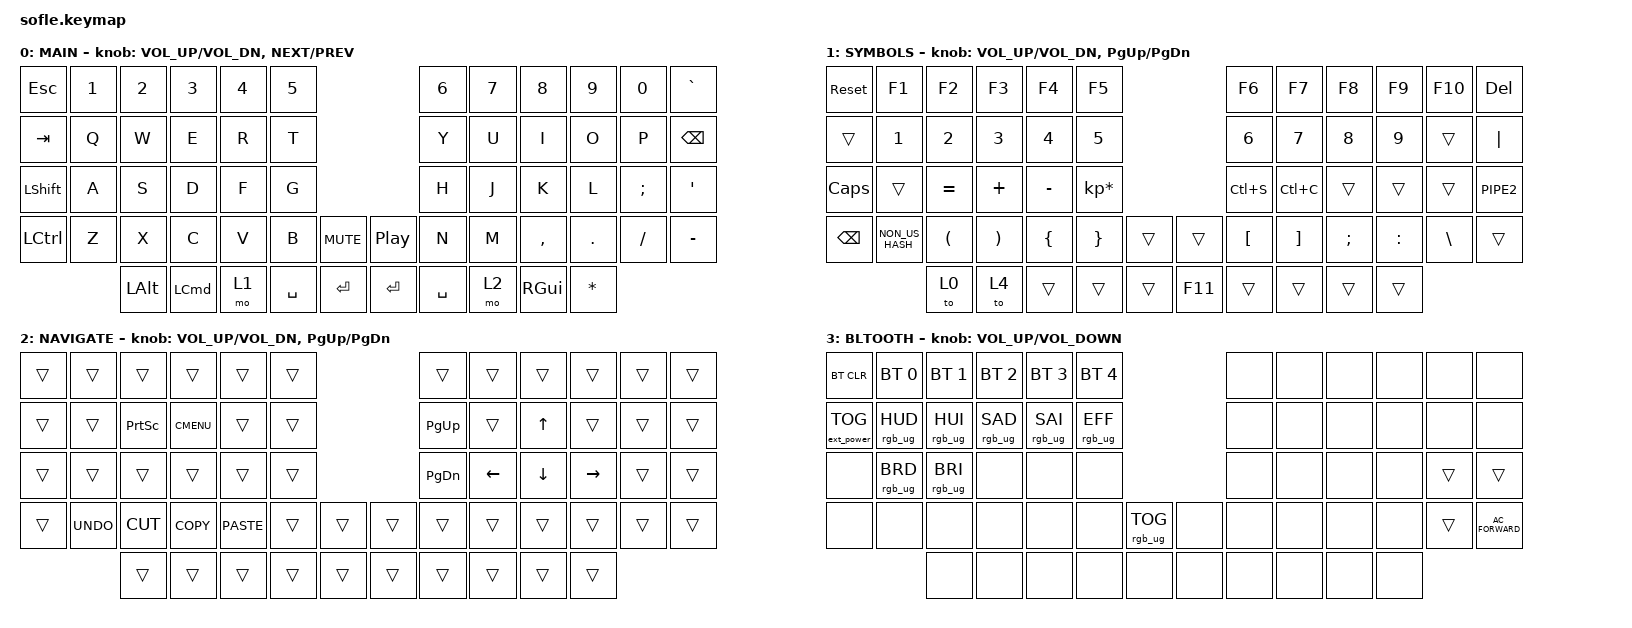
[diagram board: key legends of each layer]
/*
 * Copyright (c) 2020 The ZMK Contributors
 *
 * SPDX-License-Identifier: MIT
 */

#include <behaviors.dtsi>
#include <dt-bindings/zmk/bt.h>
#include <dt-bindings/zmk/ext_power.h>
#include <dt-bindings/zmk/keys.h>
#include <dt-bindings/zmk/rgb.h>

#define BASE 0
#define LOWER 1
#define RAISE 2
#define ADJUST 3

/ {
    // Activate ADJUST layer by pressing raise and lower

    conditional_layers {
        compatible = "zmk,conditional-layers";

        adjust_layer {
            if-layers = <1 2>;
            then-layer = <3>;
        };
    };
    combos {
            compatible = "zmk,combos";
    
            soft-off {
                bindings = <&soft_off>;
                key-positions = <5 6>;
                timeout-ms = <500>;
            };
        };
    keymap {
        compatible = "zmk,keymap";

        MAIN {
            display-name = "MAIN";

            // ------------------------------------------------------------------------------------------------------------
            // |   `   |  1  |  2  |  3   |  4   |  5   |                   |  6   |  7    |  8    |  9   |   0   |       |
            // |  ESC  |  Q  |  W  |  E   |  R   |  T   |                   |  Y   |  U    |  I    |  O   |   P   | BKSPC |
            // |  TAB  |  A  |  S  |  D   |  F   |  G   |                   |  H   |  J    |  K    |  L   |   ;   |   '   |
            // | SHIFT |  Z  |  X  |  C   |  V   |  B   |  MUTE  |  |       |  N   |  M    |  ,    |  .   |   /   | SHIFT |
            //               | GUI | ALT  | CTRL | LOWER|  ENTER |  | SPACE | RAISE| CTRL  | ALT   | GUI  |

            bindings = <
&kp ESCAPE      &kp N1  &kp N2        &kp N3            &kp N4  &kp N5                                     &kp N6     &kp N7  &kp N8         &kp N9     &kp N0    &kp GRAVE
&kp TAB         &kp Q   &kp W         &kp E             &kp R   &kp T                                      &kp Y      &kp U   &kp I          &kp O      &kp P     &kp BACKSPACE
&kp LEFT_SHIFT  &kp A   &kp S         &kp D             &kp F   &kp G                                      &kp H      &kp J   &kp K          &kp L      &kp SEMI  &kp SQT
&kp LCTRL       &kp Z   &kp X         &kp C             &kp V   &kp B      &kp C_MUTE    &kp C_PLAY_PAUSE  &kp N      &kp M   &kp COMMA      &kp DOT    &kp FSLH  &kp MINUS
                        &kp LEFT_ALT  &kp LEFT_COMMAND  &mo 1   &kp SPACE  &kp ENTER     &kp ENTER         &kp SPACE  &mo 2   &kp RIGHT_GUI  &kp ASTRK
            >;

            sensor-bindings =
                <&inc_dec_kp C_VOL_UP C_VOL_DN>,
                <&inc_dec_kp C_NEXT C_PREV>;
        };

        SYMBOLS {
            display-name = "SYMBOLS";

            // TODO: Some binds are waiting for shifted keycode support.
            // ------------------------------------------------------------------------------------------------------------
            // |       |  F1 |  F2 |  F3  |  F4  |  F5  |                   |  F6  |  F7   |  F8   |  F9  |  F10  |  F11  |
            // |   `   |  1  |  2  |  3   |  4   |  5   |                   |  6   |  7    |  8    |  9   |   0   |  F12  |
            // |       |  !  |  @  |  #   |  $   |  %   |                   |  ^   |  &    |  *    |  (   |   )   |   |   |
            // |       |  =  |  -  |  +   |  {   |  }   |        |  |       |  [   |  ]    |  ;    |  :   |   \   |       |
            //               |     |      |      |      |        |  |       |      |       |       |      |

            bindings = <
&sys_reset     &kp F1           &kp F2                &kp F3                 &kp F4     &kp F5                              &kp F6        &kp F7     &kp F8    &kp F9     &kp F10   &kp DELETE
&trans         &kp N1           &kp N2                &kp N3                 &kp N4     &kp N5                              &kp NUMBER_6  &kp N7     &kp N8    &kp N9     &trans    &kp PIPE
&kp CAPS       &trans           &kp EQUAL             &kp PLUS               &kp MINUS  &kp KP_MULTIPLY                     &kp LC(S)     &kp LC(C)  &trans    &trans     &trans    &kp PIPE2
&kp BACKSPACE  &kp NON_US_HASH  &kp LEFT_PARENTHESIS  &kp RIGHT_PARENTHESIS  &kp LBRC   &kp RBRC         &trans    &trans   &kp LBKT      &kp RBKT   &kp SEMI  &kp COLON  &kp BSLH  &trans
                                &to 0                 &to 4                  &trans     &trans           &trans    &kp F11  &trans        &trans     &trans    &trans
            >;

            sensor-bindings = <&inc_dec_kp C_VOL_UP C_VOL_DN &inc_dec_kp PG_UP PG_DN>;
        };

        NAVIGATE {
            display-name = "NAVIGATE";

            // ------------------------------------------------------------------------------------------------------------
            // | BTCLR | BT1  | BT2  |  BT3  |  BT4  |  BT5 |                |      |      |       |      |       |       |
            // |       | INS  | PSCR | GUI   |       |      |                | PGUP |      |   ^   |      |       |       |
            // |       | ALT  | CTRL | SHIFT |       | CAPS |                | PGDN |   <- |   v   |  ->  |  DEL  | BKSPC |
            // |       | UNDO | CUT  | COPY  | PASTE |      |      |  |      |      |      |       |      |       |       |
            //                |      |       |       |      |      |  |      |      |      |       |      |

            bindings = <
&trans  &trans      &trans     &trans       &trans       &trans                    &trans     &trans    &trans    &trans     &trans  &trans
&trans  &trans      &kp PSCRN  &kp K_CMENU  &trans       &trans                    &kp PG_UP  &trans    &kp UP    &trans     &trans  &trans
&trans  &trans      &trans     &trans       &trans       &trans                    &kp PG_DN  &kp LEFT  &kp DOWN  &kp RIGHT  &trans  &trans
&trans  &kp K_UNDO  &kp K_CUT  &kp K_COPY   &kp K_PASTE  &trans  &trans    &trans  &trans     &trans    &trans    &trans     &trans  &trans
                    &trans     &trans       &trans       &trans  &trans    &trans  &trans     &trans    &trans    &trans
            >;

            sensor-bindings = <&inc_dec_kp C_VOL_UP C_VOL_DN &inc_dec_kp PG_UP PG_DN>;
        };

        BLTOOTH {
            // ----------------------------------------------------------------------------------------------------------------------------
            // | BTCLR  |  BT1    |  BT2    |   BT3   |   BT4   |   BT5   |                  |      |      |       |      |       |       |
            // | EXTPWR | RGB_HUD | RGB_HUI | RGB_SAD | RGB_SAI | RGB_EFF |                  |      |      |       |      |       |       |
            // |        | RGB_BRD | RGB_BRI |         |         |         |                  |      |      |       |      |       |       |
            // |        |         |         |         |         |         | RGB_TOG | |      |      |      |       |      |       |       |
            //                    |         |         |         |         |         | |      |      |      |       |      |

            display-name = "BLTOOTH";
            bindings = <
&bt BT_CLR         &bt BT_SEL 0     &bt BT_SEL 1     &bt BT_SEL 2     &bt BT_SEL 3     &bt BT_SEL 4                               &none  &none  &none  &none  &none   &none
&ext_power EP_TOG  &rgb_ug RGB_HUD  &rgb_ug RGB_HUI  &rgb_ug RGB_SAD  &rgb_ug RGB_SAI  &rgb_ug RGB_EFF                            &none  &none  &none  &none  &none   &none
&none              &rgb_ug RGB_BRD  &rgb_ug RGB_BRI  &none            &none            &none                                      &none  &none  &none  &none  &trans  &trans
&none              &none            &none            &none            &none            &none            &rgb_ug RGB_TOG    &none  &none  &none  &none  &none  &trans  &kp C_AC_FORWARD
                                    &none            &none            &none            &none            &none              &none  &none  &none  &none  &none
            >;

            sensor-bindings = <&inc_dec_kp K_VOLUME_UP C_VOLUME_DOWN>;
        };
    };
};
